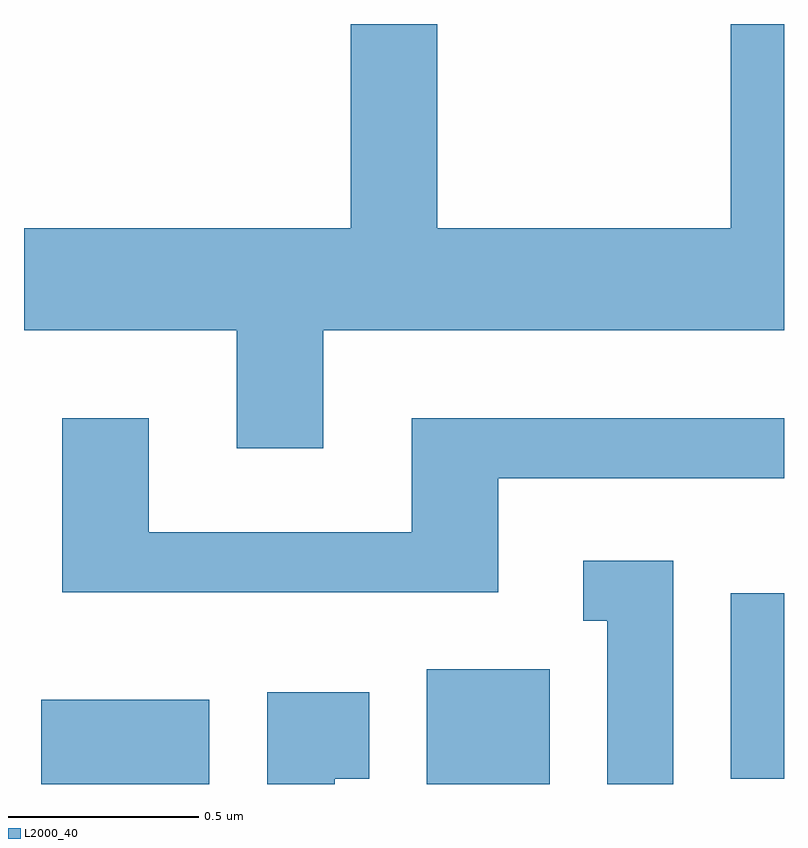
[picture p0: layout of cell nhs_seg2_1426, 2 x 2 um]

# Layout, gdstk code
import gdstk
lib = gdstk.Library(unit=1e-6, precision=1e-09)
def R(c, l, rs):  # rectangles x0, y0, x1, y1
    for r in rs: c.add(gdstk.rectangle(r[:2], r[2:], *l))
def P(c, l, *ps):  # polygons
    for p in ps: c.add(gdstk.Polygon(p, *l))
L2000_40 = (2000, 40)

nhs_seg2_1426 = lib.new_cell('nhs_seg2_1426')
R(nhs_seg2_1426, L2000_40, [(195.656,1033.802,196.099,1034.024), (196.671,1033.802,196.994,1034.104), (197.471,1033.816,197.611,1034.304)])
P(nhs_seg2_1426, L2000_40, [(196.399,1034.996),(197.611,1034.996),(197.611,1035.802),(197.471,1035.802),(197.471,1035.264),(196.699,1035.264),(196.699,1035.802),(196.471,1035.802),(196.471,1035.264),(195.611,1035.264),(195.611,1034.996),(196.171,1034.996),(196.171,1034.686),(196.399,1034.686)],
  [(196.859,1034.606),(197.611,1034.606),(197.611,1034.764),(196.631,1034.764),(196.631,1034.464),(195.939,1034.464),(195.939,1034.764),(195.711,1034.764),(195.711,1034.306),(196.859,1034.306)],
  [(197.319,1034.389),(197.083,1034.389),(197.083,1034.231),(197.146,1034.231),(197.146,1033.802),(197.319,1033.802)],
  [(196.429,1033.816),(196.519,1033.816),(196.519,1034.044),(196.251,1034.044),(196.251,1033.802),(196.429,1033.802)])

lib.write_gds('nhs_seg2_1426.gds')
